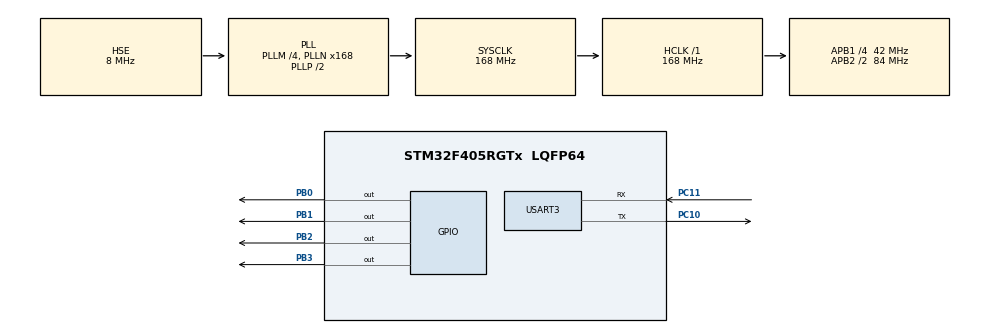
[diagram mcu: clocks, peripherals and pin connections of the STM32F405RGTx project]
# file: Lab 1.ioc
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FREERTOS.Events01=DataFlag,Dynamic,NULL
FREERTOS.INCLUDE_xEventGroupSetBitFromISR=1
FREERTOS.Tasks01=RcvUART_Task,31,512,RcvUART_TaskHandler,Default,NULL,Dynamic,NULL,NULL;LedControl_Task,24,512,LedControl_TaskHandler,Default,NULL,Dynamic,NULL,NULL;Print_Task,24,512,Print_TaskHandler,Default,NULL,Dynamic,NULL,NULL
FREERTOS.configENABLE_FPU=1
FREERTOS.configTIMER_TASK_PRIORITY=40
FREERTOS.configTIMER_TASK_STACK_DEPTH=512
FREERTOS.configUSE_NEWLIB_REENTRANT=1
Mcu.Family=STM32F4
Mcu.Name=STM32F405RGTx
Mcu.Package=LQFP64
NVIC.PriorityGroup=NVIC_PRIORITYGROUP_4
NVIC.USART3_IRQn=true\:5\:0\:false\:false\:true\:true\:true\:true\:true
PA13.Mode=Serial_Wire
PA13.Signal=SYS_JTMS-SWDIO
PA14.Mode=Serial_Wire
PA14.Signal=SYS_JTCK-SWCLK
PB0.Signal=GPIO_Output
PB1.Signal=GPIO_Output
PB2.Signal=GPIO_Output
PB3.Signal=GPIO_Output
PC10.Mode=Asynchronous
PC10.Signal=USART3_TX
PC11.Mode=Asynchronous
PC11.Signal=USART3_RX
PH0-OSC_IN.Mode=HSE-External-Oscillator
PH0-OSC_IN.Signal=RCC_OSC_IN
PH1-OSC_OUT.Mode=HSE-External-Oscillator
PH1-OSC_OUT.Signal=RCC_OSC_OUT
ProjectManager.HeapSize=0x200
ProjectManager.StackSize=0x400
ProjectManager.TargetToolchain=STM32CubeIDE
RCC.48MHZClocksFreq_Value=84000000
RCC.AHBFreq_Value=168000000
RCC.APB1CLKDivider=RCC_HCLK_DIV4
RCC.APB1Freq_Value=42000000
RCC.APB1TimFreq_Value=84000000
RCC.APB2CLKDivider=RCC_HCLK_DIV2
RCC.APB2Freq_Value=84000000
RCC.APB2TimFreq_Value=168000000
RCC.CortexFreq_Value=168000000
RCC.HCLKFreq_Value=168000000
RCC.HSE_VALUE=8000000
RCC.HSI_VALUE=16000000
RCC.LSE_VALUE=32768
RCC.PLLM=4
RCC.PLLN=168
RCC.PLLSourceVirtual=RCC_PLLSOURCE_HSE
RCC.SYSCLKFreq_VALUE=168000000
RCC.SYSCLKSource=RCC_SYSCLKSOURCE_PLLCLK
RCC.VCOOutputFreq_Value=336000000
USART3.VirtualMode=VM_ASYNC
VP_FREERTOS_VS_CMSIS_V2.Mode=CMSIS_V2
board=custom

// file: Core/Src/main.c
/* USER CODE BEGIN Header */
/**
  ******************************************************************************
  * @file           : main.c
  * @brief          : Main program body
  ******************************************************************************
  * @attention
  *
  * Copyright (c) 2022 STMicroelectronics.
  * All rights reserved.
  *
  * This software is licensed under terms that can be found in the LICENSE file
  * in the root directory of this software component.
  * If no LICENSE file comes with this software, it is provided AS-IS.
  *
  ******************************************************************************
  */
/* USER CODE END Header */
#include "main.h"
#include "cmsis_os.h"

/* USER CODE BEGIN Includes */
#include "SyncPrintf.h"
#include <string.h>
#include "lwjson/lwjson.h"
/* USER CODE END Includes */

UART_HandleTypeDef huart3;

/* Definitions for RcvUART_Task */
osThreadId_t RcvUART_TaskHandle;
const osThreadAttr_t RcvUART_Task_attributes = {
  .name = "RcvUART_Task",
  .stack_size = 512 * 4,
  .priority = (osPriority_t) osPriorityNormal7,
};
/* Definitions for LedControl_Task */
osThreadId_t LedControl_TaskHandle;
const osThreadAttr_t LedControl_Task_attributes = {
  .name = "LedControl_Task",
  .stack_size = 512 * 4,
  .priority = (osPriority_t) osPriorityNormal,
};
/* Definitions for Print_Task */
osThreadId_t Print_TaskHandle;
const osThreadAttr_t Print_Task_attributes = {
  .name = "Print_Task",
  .stack_size = 512 * 4,
  .priority = (osPriority_t) osPriorityNormal,
};
/* Definitions for DataFlag */
osEventFlagsId_t DataFlagHandle;
const osEventFlagsAttr_t DataFlag_attributes = {
  .name = "DataFlag"
};
/* USER CODE BEGIN PV */
#define RcvBuffer_Size 50

#define	DataFlag_NewData 		0b001UL
#define DataFlag_Print			0b010UL
#define DataFlag_Process		0b100UL

#define NoLed			4
#define Led_Port		GPIOB
#define Led_PinStart	0

uint8_t RcvBuffer[RcvBuffer_Size] = {0};

char PrintData[RcvBuffer_Size] = {0};
char LedData[RcvBuffer_Size] = {0};

/* USER CODE END PV */

void SystemClock_Config(void);
static void MX_GPIO_Init(void);
static void MX_USART3_UART_Init(void);
void RcvUART_TaskHandler(void *argument);
void LedControl_TaskHandler(void *argument);
void Print_TaskHandler(void *argument);

int main(void)
{

  /* MCU Configuration--------------------------------------------------------*/

  /* Reset of all peripherals, Initializes the Flash interface and the Systick. */
  HAL_Init();

  /* Configure the system clock */
  SystemClock_Config();

  /* Initialize all configured peripherals */
  MX_GPIO_Init();
  MX_USART3_UART_Init();

  /* Init scheduler */
  osKernelInitialize();

  /* Create the thread(s) */
  /* creation of RcvUART_Task */
  RcvUART_TaskHandle = osThreadNew(RcvUART_TaskHandler, NULL, &RcvUART_Task_attributes);

  /* creation of LedControl_Task */
  LedControl_TaskHandle = osThreadNew(LedControl_TaskHandler, NULL, &LedControl_Task_attributes);

  /* creation of Print_Task */
  Print_TaskHandle = osThreadNew(Print_TaskHandler, NULL, &Print_Task_attributes);

  /* Create the event(s) */
  /* creation of DataFlag */
  DataFlagHandle = osEventFlagsNew(&DataFlag_attributes);

  /* Start scheduler */
  osKernelStart();

  /* We should never get here as control is now taken by the scheduler */
  /* Infinite loop */
  while (1)
  {

  }
}

void SystemClock_Config(void)
{
  RCC_OscInitTypeDef RCC_OscInitStruct = {0};
  RCC_ClkInitTypeDef RCC_ClkInitStruct = {0};

  /** Configure the main internal regulator output voltage
  */
  __HAL_RCC_PWR_CLK_ENABLE();
  __HAL_PWR_VOLTAGESCALING_CONFIG(PWR_REGULATOR_VOLTAGE_SCALE1);

  /** Initializes the RCC Oscillators according to the specified parameters
  * in the RCC_OscInitTypeDef structure.
  */
  RCC_OscInitStruct.OscillatorType = RCC_OSCILLATORTYPE_HSE;
  RCC_OscInitStruct.HSEState = RCC_HSE_ON;
  RCC_OscInitStruct.PLL.PLLState = RCC_PLL_ON;
  RCC_OscInitStruct.PLL.PLLSource = RCC_PLLSOURCE_HSE;
  RCC_OscInitStruct.PLL.PLLM = 4;
  RCC_OscInitStruct.PLL.PLLN = 168;
  RCC_OscInitStruct.PLL.PLLP = RCC_PLLP_DIV2;
  RCC_OscInitStruct.PLL.PLLQ = 4;
  if (HAL_RCC_OscConfig(&RCC_OscInitStruct) != HAL_OK)
  {
    Error_Handler();
  }

  /** Initializes the CPU, AHB and APB buses clocks
  */
  RCC_ClkInitStruct.ClockType = RCC_CLOCKTYPE_HCLK|RCC_CLOCKTYPE_SYSCLK
                              |RCC_CLOCKTYPE_PCLK1|RCC_CLOCKTYPE_PCLK2;
  RCC_ClkInitStruct.SYSCLKSource = RCC_SYSCLKSOURCE_PLLCLK;
  RCC_ClkInitStruct.AHBCLKDivider = RCC_SYSCLK_DIV1;
  RCC_ClkInitStruct.APB1CLKDivider = RCC_HCLK_DIV4;
  RCC_ClkInitStruct.APB2CLKDivider = RCC_HCLK_DIV2;

  if (HAL_RCC_ClockConfig(&RCC_ClkInitStruct, FLASH_LATENCY_5) != HAL_OK)
  {
    Error_Handler();
  }
}

static void MX_USART3_UART_Init(void)
{

  huart3.Instance = USART3;
  huart3.Init.BaudRate = 115200;
  huart3.Init.WordLength = UART_WORDLENGTH_8B;
  huart3.Init.StopBits = UART_STOPBITS_1;
  huart3.Init.Parity = UART_PARITY_NONE;
  huart3.Init.Mode = UART_MODE_TX_RX;
  huart3.Init.HwFlowCtl = UART_HWCONTROL_NONE;
  huart3.Init.OverSampling = UART_OVERSAMPLING_16;
  if (HAL_UART_Init(&huart3) != HAL_OK)
  {
    Error_Handler();
  }

}

static void MX_GPIO_Init(void)
{
  GPIO_InitTypeDef GPIO_InitStruct = {0};

  /* GPIO Ports Clock Enable */
  __HAL_RCC_GPIOH_CLK_ENABLE();
  __HAL_RCC_GPIOB_CLK_ENABLE();
  __HAL_RCC_GPIOA_CLK_ENABLE();
  __HAL_RCC_GPIOC_CLK_ENABLE();

  /*Configure GPIO pin Output Level */
  HAL_GPIO_WritePin(GPIOB, GPIO_PIN_0|GPIO_PIN_1|GPIO_PIN_2|GPIO_PIN_3, GPIO_PIN_RESET);

  /*Configure GPIO pins : PB0 PB1 PB2 PB3 */
  GPIO_InitStruct.Pin = GPIO_PIN_0|GPIO_PIN_1|GPIO_PIN_2|GPIO_PIN_3;
  GPIO_InitStruct.Mode = GPIO_MODE_OUTPUT_PP;
  GPIO_InitStruct.Pull = GPIO_NOPULL;
  GPIO_InitStruct.Speed = GPIO_SPEED_FREQ_LOW;
  HAL_GPIO_Init(GPIOB, &GPIO_InitStruct);

}

/* USER CODE BEGIN 4 */
void HAL_UARTEx_RxEventCallback(UART_HandleTypeDef *huart, uint16_t Size)
{
	if(huart->Instance == USART3)
	{
		osEventFlagsSet(DataFlagHandle, DataFlag_NewData);
	}
}

void ControlLed(lwjson_t LedState_Json)
{
	const lwjson_token_t* Led;

	for(uint8_t i=0; i<NoLed; ++i)
	{
		char LedKey[5];
		sprintf(LedKey,"LED%d",i);

		if ((Led = lwjson_find(&LedState_Json, LedKey)) != NULL)
		{
			if(Led->type == LWJSON_TYPE_NUM_INT)
			{
				if(lwjson_get_val_int(Led) == 1)
				{
					HAL_GPIO_WritePin(Led_Port, 1 << (Led_PinStart + i), GPIO_PIN_SET);
				}
				else
				{
					HAL_GPIO_WritePin(Led_Port, 1 << (Led_PinStart + i), GPIO_PIN_RESET);
				}
			}
		}
	}
}
/* USER CODE END 4 */

void RcvUART_TaskHandler(void *argument)
{
  /* USER CODE BEGIN 5 */
  /* Infinite loop */
  for(;;)
  {
	  HAL_UARTEx_ReceiveToIdle_IT(&huart3, RcvBuffer, RcvBuffer_Size);
	  osEventFlagsWait(DataFlagHandle, DataFlag_NewData, osFlagsWaitAll, osWaitForever);
	  memmove(PrintData, RcvBuffer, sizeof(RcvBuffer));
	  memmove(LedData, RcvBuffer, sizeof(RcvBuffer));

	  memset(RcvBuffer,0, sizeof(RcvBuffer));
	  osEventFlagsSet(DataFlagHandle, DataFlag_Print | DataFlag_Process);
  }
  /* USER CODE END 5 */
}

void LedControl_TaskHandler(void *argument)
{
  /* USER CODE BEGIN LedControl_TaskHandler */
	static lwjson_t LedState_Json;
	static lwjson_token_t tokens[RcvBuffer_Size];
	lwjson_init(&LedState_Json, tokens, LWJSON_ARRAYSIZE(tokens));
  /* Infinite loop */
	for(;;)
	{
		osEventFlagsWait(DataFlagHandle, DataFlag_Process, osFlagsWaitAll, osWaitForever);
		lwjsonr_t jsonStatus =  lwjson_parse(&LedState_Json, (char*)LedData);
		SyncPrintf("RcvData: %s\r\n", LedData);
		if( jsonStatus == lwjsonOK)
		{
			SyncPrintf("Parse OK\r\n");
			ControlLed(LedState_Json);
		}
		memset(LedData, 0 ,sizeof(LedData));
	}
  /* USER CODE END LedControl_TaskHandler */
}

void Print_TaskHandler(void *argument)
{
  /* USER CODE BEGIN Print_TaskHandler */
	uint32_t PrevTime = osKernelGetTickCount();

  /* Infinite loop */
  for(;;)
  {
	  uint32_t Now = osKernelGetTickCount();
	  if(Now - PrevTime > 500)
	  {
		SyncPrintf("Board Is Running \r\n");
		PrevTime = osKernelGetTickCount();
	  }

	  uint32_t DataFlagState = osEventFlagsGet(DataFlagHandle);
	  if(DataFlagState & DataFlag_Print)
	  {
		osEventFlagsClear(DataFlagHandle, DataFlag_Print);
		SyncPrintf("Rcv %s",  PrintData);
		memset(PrintData, 0, sizeof(PrintData));
	  }
  }
  /* USER CODE END Print_TaskHandler */
}

void Error_Handler(void)
{
  __disable_irq();
  while (1)
  {
  }
}
